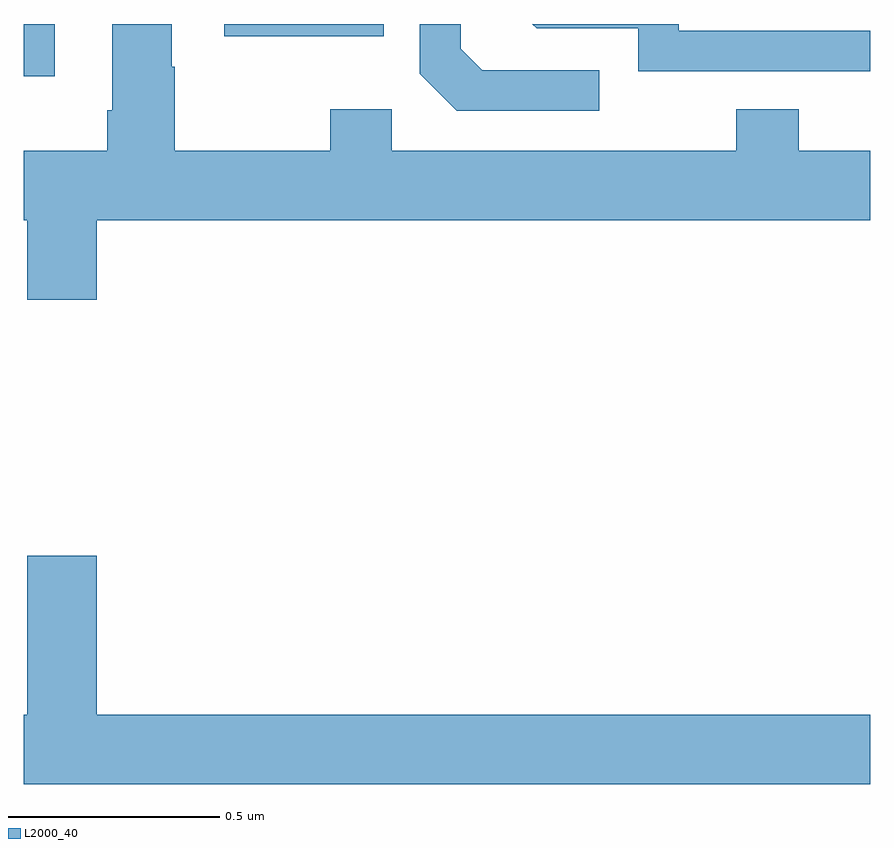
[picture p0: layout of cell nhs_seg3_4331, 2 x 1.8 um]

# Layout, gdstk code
import gdstk
lib = gdstk.Library(unit=1e-6, precision=1e-09)
def R(c, l, rs):  # rectangles x0, y0, x1, y1
    for r in rs: c.add(gdstk.rectangle(r[:2], r[2:], *l))
def P(c, l, *ps):  # polygons
    for p in ps: c.add(gdstk.Polygon(p, *l))
L2000_40 = (2000, 40)

nhs_seg3_4331 = lib.new_cell('nhs_seg3_4331')
R(nhs_seg3_4331, L2000_40, [(165,681.276,165.073,681.4), (165.474,681.371,165.851,681.4)])
P(nhs_seg3_4331, L2000_40, [(165.172,680.936),(167,680.936),(167,681.1),(166.831,681.1),(166.831,681.199),(166.684,681.199),(166.684,681.1),(165.87,681.1),(165.87,681.199),(165.724,681.199),(165.724,681.1),(165.357,681.1),(165.357,681.299),(165.349,681.299),(165.349,681.4),(165.209,681.4),(165.209,681.196),(165.197,681.196),(165.197,681.1),(165,681.1),(165,680.936),(165.008,680.936),(165.008,680.748),(165.172,680.748)],
  [(167,681.384),(166.548,681.384),(166.548,681.4),(166.202,681.4),(166.212,681.39),(166.452,681.39),(166.452,681.288),(167,681.288)],
  [(166.36,681.291),(166.083,681.291),(166.032,681.342),(166.032,681.4),(165.936,681.4),(165.936,681.282),(166.023,681.195),(166.36,681.195)],
  [(167,679.768),(165.172,679.768),(165.172,680.143),(165.008,680.143),(165.008,679.768),(165,679.768),(165,679.604),(167,679.604)])

lib.write_gds('nhs_seg3_4331.gds')
